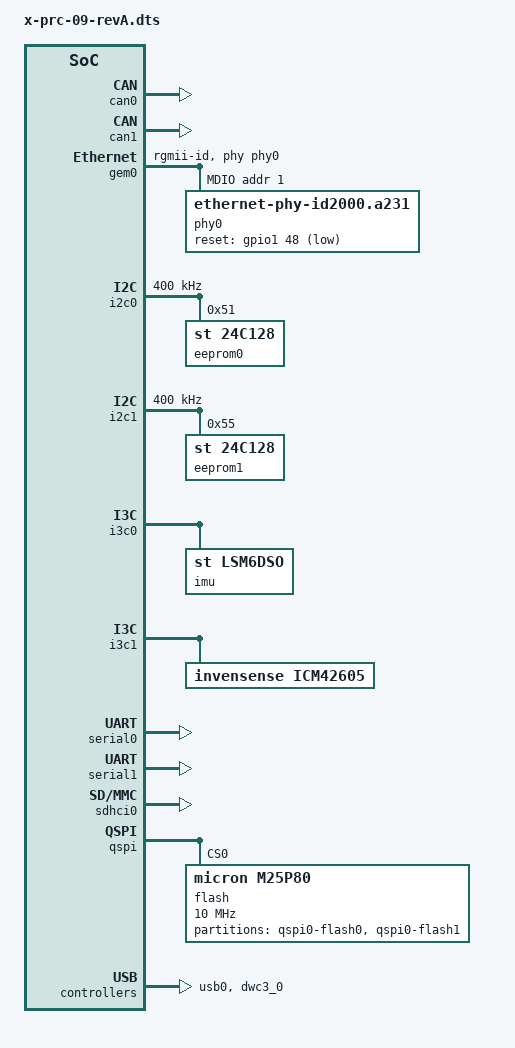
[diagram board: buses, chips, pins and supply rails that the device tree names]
// SPDX-License-Identifier: GPL-2.0
/*
 * dts file for Xilinx ZynqMP VN-P-B2197 (Tenzing2)
 *
 * (C) Copyright 2022, Advanced Micro Devices, Inc.
 *
 * Michal Simek <michal.simek@xilinx.com>
 */

/dts-v1/;
/plugin/;

#include <dt-bindings/gpio/gpio.h>

&{/} {
	model = "X-PRC-09 revA";
		     
	aliases {
		nvmem2 = &eeprom0;
		nvmem3 = &eeprom1;
	};
};

&can0 {
	status = "okay";
};

&can1 {
	status = "okay";
};

&gem0 {
	status = "okay";
	phy-handle = <&phy0>;
	phy-mode = "rgmii-id";
	mdio: mdio {
		#address-cells = <1>;
		#size-cells = <0>;
		phy0: ethernet-phy@1 { /* u128 DP83867 */
			#phy-cells = <1>;
			compatible = "ethernet-phy-id2000.a231";
			reg = <1>;
			ti,rx-internal-delay = <0x8>;
			ti,tx-internal-delay = <0xa>;
			ti,fifo-depth = <0x1>;
			ti,dp83867-rxctrl-strap-quirk;
			reset-gpios = <&gpio1 48 GPIO_ACTIVE_LOW>;
		};
	};
};

&i2c0 {
	status = "okay";
	u-boot,dm-pre-reloc;
	clock-frequency = <400000>;
	#address-cells = <1>;
	#size-cells = <0>;

	eeprom0: eeprom@51 { /* u45 WP not used */
		compatible = "st,24c128", "atmel,24c128";
		reg = <0x51>;
		u-boot,dm-pre-reloc;
	};
};

&i2c1 {
	status = "okay";
	u-boot,dm-pre-reloc;
	clock-frequency = <400000>;
	#address-cells = <1>;
	#size-cells = <0>;

	eeprom1: eeprom@55 { /* u46 WP not used */
		compatible = "st,24c128", "atmel,24c128";
		reg = <0x55>;
		u-boot,dm-pre-reloc;
	};
};

&i3c0 {
	status = "okay";
	#address-cells = <3>;
	#size-cells = <0>;
	
	/* check maximum frequency from datasheet */
	imu@6b { /* u120 */
		compatible = "st,lsm6dso";
		reg = <0 0 0x6b>;
	};
};

&i3c1 { /* u119 */
	status = "okay";
	#address-cells = <3>;
	#size-cells = <0>;

	/* icm-42605 - missing i3c driver
	drivers/iio/imu/inv_icm42600/inv_icm42600_i2c.c */
	icm42605@68 {
		compatible = "invensense,icm42605";
		reg = <0 0 0x68>;
	};
};

&serial0 {
	status = "okay";
};

&serial1 {
	status = "okay";
};


&sdhci0 {
	status = "okay";
	xlnx,mio-bank = <0>;
	no-1-8-v;
};

&qspi {
	status = "okay"; /* u93 and u92 */
	num-cs = <1>;
	is-dual = <1>;
	spi-rx-bus-width = <4>;
	spi-tx-bus-width = <4>;
	#address-cells = <1>;
	#size-cells = <0>;

	flash@0 {
		compatible = "micron,m25p80", "jedec,spi-nor";
		reg = <0>;
		#address-cells = <1>;
		#size-cells = <1>;
		spi-tx-bus-width = <1>;
		spi-rx-bus-width = <4>;
		spi-max-frequency = <10000000>;

		partitions {
			compatible = "fixed-partitions";
			#address-cells = <1>;
			#size-cells = <1>;

			partition@0 {
				label = "qspi0-flash0";
				reg = <0 0x200000>;
			};
			partition@1 {
				label = "qspi0-flash1";
				reg = <0x200000 0x7E00000>;
			};
		};
	};
};

&usb0 {
	status = "okay";
};

&dwc3_0 {
	status = "okay";
};
